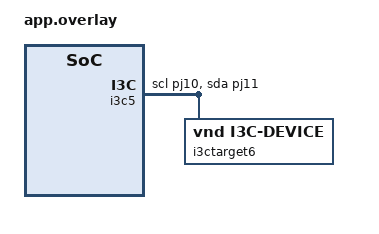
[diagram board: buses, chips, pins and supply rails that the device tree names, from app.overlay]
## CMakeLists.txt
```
# SPDX-License-Identifier: Apache-2.0

cmake_minimum_required(VERSION 3.20.0)

# 810_driver_test 通用：cpu2 控制台 uart5（PN14/PN13, 115200）
set(EXTRA_DTC_OVERLAY_FILE
    ${CMAKE_CURRENT_SOURCE_DIR}/../../common/cpu2_console_uart5.overlay)

find_package(Zephyr REQUIRED HINTS $ENV{ZEPHYR_BASE})
project(cpu0_i3c_controller)

target_sources(app PRIVATE src/main.c src/i3c_controller_test.c)
target_include_directories(app PRIVATE ${CMAKE_CURRENT_SOURCE_DIR}/../tests/include)
```

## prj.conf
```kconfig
CONFIG_LOG=y
CONFIG_LOG_MODE_DEFERRED=y
CONFIG_LOG_BUFFER_SIZE=16384
CONFIG_LOG_PROCESS_THREAD_SLEEP_MS=10
CONFIG_SERIAL=y
CONFIG_SHELL=y
CONFIG_ZTEST=y
CONFIG_ZTEST_ASSERT_VERBOSE=1
CONFIG_ZTEST_VERBOSE_OUTPUT=n
CONFIG_ZTEST_SUMMARY=n
CONFIG_I3C=y
CONFIG_I3C_USE_IBI=y
CONFIG_I3C_IBI_MAX_PAYLOAD_SIZE=8
CONFIG_I3C_LOG_LEVEL_ERR=y
CONFIG_MINIMAL_LIBC=y
CONFIG_NEWLIB_LIBC=n
```

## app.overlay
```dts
/*
 * I3C 双核测试：controller（cpu2）侧总线配置。
 *
 * 控制台串口（uart5, PN14/PN13）由 810_driver_test 通用配置提供：
 *   ../common/cpu2_console_uart5.overlay
 * 通过 cpu0_i3c_controller/CMakeLists.txt 的 EXTRA_DTC_OVERLAY_FILE 引入，
 * 各 timing case 的 overlay 只需关注 I3C 时序差异。
 */

&i3c5_scl_pj10 {
    drive-strength = <1>;
    bias-pull-up2;
};

&i3c5_sda_pj11 {
    drive-strength = <1>;
    bias-pull-up2;
};

&i3c5 {
    status = "okay";
    i3c-scl-hz = <12500000>;
    // i2c-scl-hz = <400000>;
    interrupts = <I3C5_IRQN 6>;

    tgt-pid = <0x5 0x55>;
    dcr = <0x4>;
    bcr = <0x42>;

    pinctrl-0 = <
        &i3c5_scl_pj10
        &i3c5_sda_pj11
    >;
    pinctrl-names = "default";

    i3ctarget6: i3ctarget@20813811000 {
        compatible = "vnd,i3c-device";
        reg = <0 0x0208 0x13811000>;
        assigned-address = <0x32>;
        status = "okay";
    };
};



#if 1
#undef SRAM_TOTAL_SIZE
#undef SRAM_RO_SIZE
#undef SRAM_RW_SIZE

#define SRAM_TOTAL_SIZE DT_SIZE_K(512 - 128)
#define SRAM_RO_SIZE    DT_SIZE_K(256 - 128)
#define SRAM_RW_SIZE    (SRAM_TOTAL_SIZE - SRAM_RO_SIZE)

&sram_ro {
    reg = <0x10020000 SRAM_RO_SIZE>;
};

&sram {
    reg = <(0x10020000 + SRAM_RO_SIZE) SRAM_RW_SIZE>;
};
#endif
```

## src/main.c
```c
/*
 * Copyright (c) 2025 LinkedSemi
 *
 * SPDX-License-Identifier: Apache-2.0
 */

#include "i3c_controller_test.h"

#include <stdio.h>
#include <string.h>
#include <zephyr/kernel.h>
#include <zephyr/device.h>
#include <zephyr/drivers/i3c.h>
#include <zephyr/drivers/i3c/ibi.h>
#include <zephyr/logging/log.h>

LOG_MODULE_REGISTER(i3c_master_test, LOG_LEVEL_INF);

const struct device *i3c_ctrl_dev = DEVICE_DT_GET(DT_NODELABEL(i3c5));

void log_buf_hex(const char *prefix, const uint8_t *buf, size_t len)
{
	char str[READ_LEN_MAX * 3 + 1];
	int pos = 0;

	for (size_t i = 0; i < len; i++) {
		pos += snprintf(str + pos, sizeof(str) - pos, "%02X ", buf[i]);
		if (pos >= sizeof(str)) {
			break;
		}
	}
	LOG_INF("%s%s", prefix, str);
}

int i3c_write_actual(struct i3c_device_desc *target,
			     const uint8_t *write_buf, size_t num_write,
			     size_t *actual)
{
	struct i3c_msg msg = {
		.buf = (uint8_t *)write_buf,
		.len = num_write,
		.flags = I3C_MSG_WRITE | I3C_MSG_STOP,
		.hdr_mode = 0,
		.hdr_cmd_code = 0,
		.num_xfer = 0,
	};

	int ret = i3c_transfer(target, &msg, 1);
	if (ret == 0) {
		*actual = msg.num_xfer;
	}
	return ret;
}

int i3c_write_read_actual(struct i3c_device_desc *target,
				  const uint8_t *write_buf, size_t num_write,
				  uint8_t *read_buf, size_t num_read,
				  size_t *actual)
{
	struct i3c_msg msg[2] = {
		{
			.buf = (uint8_t *)write_buf,
			.len = num_write,
			.flags = I3C_MSG_WRITE,
			.hdr_mode = 0,
			.hdr_cmd_code = 0,
			.num_xfer = 0,
		},
		{
			.buf = read_buf,
			.len = num_read,
			.flags = I3C_MSG_RESTART | I3C_MSG_READ | I3C_MSG_STOP,
			.hdr_mode = 0,
			.hdr_cmd_code = 0,
			.num_xfer = 0,
		},
	};

	int ret = i3c_transfer(target, msg, 2);
	if (ret == 0) {
		*actual = msg[1].num_xfer;
	}
	return ret;
}

int i3c_read_actual(struct i3c_device_desc *target,
			    uint8_t *read_buf, size_t num_read,
			    size_t *actual)
{
	struct i3c_msg msg = {
		.buf = read_buf,
		.len = num_read,
		.flags = I3C_MSG_READ | I3C_MSG_STOP,
		.hdr_mode = 0,
		.hdr_cmd_code = 0,
		.num_xfer = 0,
	};

	int ret = i3c_transfer(target, &msg, 1);
	if (ret == 0) {
		*actual = msg.num_xfer;
	}
	return ret;
}

struct i3c_device_desc *wait_for_target(void)
{
	struct i3c_device_desc *target = NULL;
	int ret;

	for (int attempt = 0; attempt < 30; attempt++) {
		target = i3c_dev_list_i3c_addr_find(i3c_ctrl_dev, I3C_TARGET_ADDR);
		if (target != NULL) {
			return target;
		}
		LOG_INF("Target 0x%02X not found, retry DAA (attempt %d)",
		       I3C_TARGET_ADDR, attempt + 1);
		ret = i3c_do_daa(i3c_ctrl_dev);
		if (ret != 0) {
			LOG_INF("i3c_do_daa failed: %d", ret);
		}
		k_sleep(K_MSEC(20));
	}

	return NULL;
}
```

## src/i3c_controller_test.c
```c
/*
 * Copyright (c) 2025 LinkedSemi
 *
 * SPDX-License-Identifier: Apache-2.0
 */

#include "i3c_controller_test.h"
#include "i3c_dualcore_test_protocol.h"

#include <stdio.h>
#include <string.h>
#include <zephyr/ztest.h>
#include <zephyr/kernel.h>
#include <zephyr/drivers/i3c.h>
#include <zephyr/drivers/i3c/ibi.h>
#include <zephyr/drivers/i3c/ccc.h>
#include <zephyr/logging/log.h>

LOG_MODULE_DECLARE(i3c_master_test, LOG_LEVEL_INF);

static struct i3c_device_desc *target_desc;
static enum i3c_test_id current_test_id;
static bool ctrl_any_failed;

static volatile bool ibi_received;
static volatile uint8_t ibi_payload_buf[8];
static volatile size_t ibi_payload_len;

static char ctrl_fail_reason[256];
static bool ctrl_failed;

/* 调试：带时间戳的步骤标记（printk 入队即返回，deferred 不阻塞流程） */
#define CTRL_STEP(tag) \
	printk("CTRL_STEP: %s @%lu\n", tag, k_cyc_to_us_floor32(k_cycle_get_32()))

/* 每项测试的结果记账：-1 未跑 / 0 PASS / 1 FAIL，用于结尾汇总表 */
static int8_t ctrl_results[I3C_TEST_COUNT];
static char ctrl_result_reason[I3C_TEST_COUNT][96];

#define CTRL_EXPECT(cond, fmt, ...) \
	do { \
		if (!(cond)) { \
			int _rem = (int)sizeof(ctrl_fail_reason) - \
				   (int)strlen(ctrl_fail_reason); \
			if (_rem > 0) { \
				snprintf(ctrl_fail_reason + strlen(ctrl_fail_reason), \
					 (size_t)_rem, fmt "; ", ##__VA_ARGS__); \
			} \
			ctrl_failed = true; \
		} \
	} while (0)

static int ctrl_ibi_cb(struct i3c_device_desc *target,
		       struct i3c_ibi_payload *payload)
{
	ARG_UNUSED(target);

	CTRL_STEP("IBI enter");
	ibi_received = true;
	if (payload != NULL && payload->payload_len > 0) {
		ibi_payload_len = payload->payload_len;
		if (ibi_payload_len > sizeof(ibi_payload_buf)) {
			ibi_payload_len = sizeof(ibi_payload_buf);
		}
		memcpy((void *)ibi_payload_buf, payload->payload, ibi_payload_len);
		printk("IBI received, %zu bytes\n", ibi_payload_len);
	} else {
		ibi_payload_len = 0;
		printk("IBI received, no payload\n");
	}
	CTRL_STEP("IBI exit");
	return 0;
}

static int ctrl_send_cmd(const uint8_t *data, size_t len)
{
	size_t actual = 0;

	if (target_desc == NULL) {
		return -ENODEV;
	}

	int ret = i3c_write_actual(target_desc, data, len, &actual);
	if (ret != 0) {
		return ret;
	}
	if (actual != len) {
		return -EIO;
	}
	return 0;
}

/* 调试：带时间戳的步骤标记（printk 入队即返回，deferred 不阻塞流程） */
#define CTRL_STEP(tag) \
	printk("CTRL_STEP: %s @%lu\n", tag, k_cyc_to_us_floor32(k_cycle_get_32()))

/* 等待从机的就绪握手 IBI（payload {0xBB, test_id}） */
static bool ctrl_wait_ready_ibi(enum i3c_test_id id, uint32_t timeout_ms)
{
	uint32_t waited = 0;

	while (waited < timeout_ms) {
		if (ibi_received && ibi_payload_len == 2 &&
		    ibi_payload_buf[0] == 0xBB && ibi_payload_buf[1] == (uint8_t)id) {
			return true;
		}
		k_sleep(K_MSEC(1));
		waited += 1;
	}
	return false;
}

static bool ctrl_test_begin(enum i3c_test_id id)
{
	current_test_id = id;
	ctrl_failed = false;
	ctrl_fail_reason[0] = '\0';

	I3C_TEST_CTRL_START_VAR(i3c_test_names[id]);

	if (target_desc == NULL) {
		CTRL_EXPECT(false, "target not discovered");
		return false;
	}

	ibi_received = false;
	uint8_t payload = (uint8_t)id;
	int ret = ctrl_send_cmd((const uint8_t[]){ CMD_TEST_START, payload }, 2);
	CTRL_EXPECT(ret == 0, "CMD_TEST_START failed: %d", ret);
	CTRL_STEP("S sent");

	/* 就绪握手：从机解析完 TEST_START 后回 IBI {0xBB, id}。
	 * 收不到说明从机中断/状态机已卡死，立即失败并暴露。 */
	if (ret == 0 && !ctrl_wait_ready_ibi(id, 1000)) {
		CTRL_EXPECT(false, "ready IBI timeout for test %d", id);
	}
	/* 实验：收到 IBI 后不再发后续帧，判定 cpu1 卡 8ms 是否与 cpu2 后续操作有关 */
#if 1
	CTRL_STEP("IBI ok");
	return !ctrl_failed;
#else
	CTRL_STEP("IBI ok");

	/* 实验（排查 IBI 后 8ms 死窗）：收到就绪 IBI 后延迟 N ms 再发测试帧。
	 * DLY500 实测：延迟 500ms 时帧落在窗口外，write_stop_read_32 双核 PASS，
	 * 死窗确为 IBI 后固定时长 blackout。改回 0 让帧打进窗口继续观测。 */
#define CTRL_DBG_POST_IBI_DELAY_MS 0
#if CTRL_DBG_POST_IBI_DELAY_MS > 0
	k_sleep(K_MSEC(CTRL_DBG_POST_IBI_DELAY_MS));
	CTRL_STEP("DLY done");
#endif

	return !ctrl_failed;
#endif
}

static void ctrl_test_end(void)
{
	uint8_t result = ctrl_failed ? TEST_RESULT_FAIL : TEST_RESULT_PASS;
	int ret = ctrl_send_cmd((const uint8_t[]){ CMD_TEST_END, (uint8_t)current_test_id, result }, 3);
	CTRL_STEP("E sent");
	CTRL_EXPECT(ret == 0, "CMD_TEST_END failed: %d", ret);

	/* Give target time to run its ztest and emit the TGT token. */
	k_sleep(K_MSEC(10));

	/* 记账，供结尾汇总表使用（zassert 失败会中止当前测试线程，必须先记） */
	ctrl_results[current_test_id] = ctrl_failed ? 1 : 0;
	if (ctrl_failed) {
		snprintf(ctrl_result_reason[current_test_id],
			 sizeof(ctrl_result_reason[current_test_id]),
			 "%s", ctrl_fail_reason);
	} else {
		ctrl_result_reason[current_test_id][0] = '\0';
	}

	if (ctrl_failed) {
		I3C_TEST_CTRL_FAIL_VAR(i3c_test_names[current_test_id], ctrl_fail_reason);
		ctrl_any_failed = true;
	} else {
		I3C_TEST_CTRL_PASS_VAR(i3c_test_names[current_test_id]);
	}

	zassert_false(ctrl_failed, "%s", ctrl_fail_reason);
}

static void fill_pattern(uint8_t *buf, size_t len, uint8_t seed)
{
	for (size_t i = 0; i < len; i++) {
		buf[i] = (uint8_t)(seed + i);
	}
}

static void validate_pattern(const uint8_t *buf, size_t len, uint8_t seed,
			     const char *ctx)
{
	for (size_t i = 0; i < len; i++) {
		uint8_t expected = (uint8_t)(seed + i);
		CTRL_EXPECT(buf[i] == expected,
			    "%s byte[%zu] 0x%02x != 0x%02x",
			    ctx, i, buf[i], expected);
	}
}

static int ctrl_set_read_len(uint8_t len)
{
	return ctrl_send_cmd((const uint8_t[]){ CMD_SET_READ_LEN, len }, 2);
}

static int ctrl_trigger(enum i3c_test_id id)
{
	uint8_t opcode = (id == I3C_TEST_IBI) ? CMD_TRIGGER_IBI : CMD_TRIGGER_HJ;
	return ctrl_send_cmd(&opcode, 1);
}

/* ========== ztest suite setup ========== */

static void *i3c_controller_setup(void)
{
	LOG_INF("[CPU2 MASTER] I3C controller test started");

	for (int i = 0; i < I3C_TEST_COUNT; i++) {
		ctrl_results[i] = -1;
	}

	k_sleep(K_MSEC(20));

	target_desc = wait_for_target();
	if (target_desc == NULL) {
		/* Let the first test fail gracefully. */
		return NULL;
	}

	target_desc->ibi_cb = ctrl_ibi_cb;
	int ret = i3c_ibi_enable(target_desc);
	if (ret != 0) {
		LOG_ERR("i3c_ibi_enable failed: %d", ret);
	} else {
		LOG_INF("IBI enabled for target 0x%02x", I3C_TARGET_ADDR);
	}

	/* 每个测试项的就绪握手依赖 IBI：target 侧事件使能必须确实打开。
	 * 不能用 i3c_ibi_enable 的重使能（target 已在 IBI 列表时会早退 -EINVAL，
	 * ENEC 发不出去），这里直接发 direct CCC ENEC。 */
	struct i3c_ccc_events ibi_evt = { .events = I3C_CCC_EVT_INTR };
	int en_ret = i3c_ccc_do_events_set(target_desc, true, &ibi_evt);
	if (en_ret != 0) {
		LOG_ERR("setup ENEC INTR failed: %d", en_ret);
	}

	return NULL;
}

static void i3c_controller_before(void *fixture)
{
	ARG_UNUSED(fixture);
}

static void i3c_controller_after(void *fixture)
{
	ARG_UNUSED(fixture);
}

/* ========== Test implementations ========== */

#if I3C_TEST_EN_DAA_DISCOVERY
ZTEST(i3c_controller, daa_discovery)
{
	(void)ctrl_test_begin(I3C_TEST_DAA_DISCOVERY);

	CTRL_EXPECT(target_desc != NULL, "target 0x%02x not discovered", I3C_TARGET_ADDR);
	if (target_desc != NULL) {
		CTRL_EXPECT(target_desc->dynamic_addr == I3C_TARGET_ADDR,
			    "dynamic addr 0x%02x != 0x%02x",
			    target_desc->dynamic_addr, I3C_TARGET_ADDR);
	}

	ctrl_test_end();
}
#endif /* I3C_TEST_EN_DAA_DISCOVERY */

#if I3C_TEST_EN_WRITE_8
ZTEST(i3c_controller, write_8)
{
	uint8_t buf[8];
	uint8_t cmd_buf[2 + sizeof(buf)];

	if (!ctrl_test_begin(I3C_TEST_WRITE_8)) {
		ctrl_test_end();
		return;
	}

	fill_pattern(buf, sizeof(buf), 0x10);
	cmd_buf[0] = CMD_WRITE_DATA;
	cmd_buf[1] = sizeof(buf);
	memcpy(cmd_buf + 2, buf, sizeof(buf));

	size_t actual = 0;
	int ret = i3c_write_actual(target_desc, cmd_buf, sizeof(cmd_buf), &actual);
	CTRL_EXPECT(ret == 0, "write failed: %d", ret);
	CTRL_EXPECT(actual == sizeof(cmd_buf), "write actual %zu != %zu", actual, sizeof(cmd_buf));

	ctrl_test_end();
}
#endif /* I3C_TEST_EN_WRITE_8 */

#if I3C_TEST_EN_WRITE_100
ZTEST(i3c_controller, write_100)
{
	uint8_t buf[100];
	uint8_t cmd_buf[2 + sizeof(buf)];

	if (!ctrl_test_begin(I3C_TEST_WRITE_100)) {
		ctrl_test_end();
		return;
	}

	fill_pattern(buf, sizeof(buf), 0x20);
	cmd_buf[0] = CMD_WRITE_DATA;
	cmd_buf[1] = sizeof(buf);
	memcpy(cmd_buf + 2, buf, sizeof(buf));

	size_t actual = 0;
	int ret = i3c_write_actual(target_desc, cmd_buf, sizeof(cmd_buf), &actual);
	CTRL_EXPECT(ret == 0, "write failed: %d", ret);
	CTRL_EXPECT(actual == sizeof(cmd_buf), "write actual %zu != %zu", actual, sizeof(cmd_buf));

	ctrl_test_end();
}
#endif /* I3C_TEST_EN_WRITE_100 */

#if I3C_TEST_EN_READ_DIRECT
ZTEST(i3c_controller, read_32_direct)
{
	uint8_t buf[32];

	if (!ctrl_test_begin(I3C_TEST_READ_32_DIRECT)) {
		ctrl_test_end();
		return;
	}

	size_t actual = 0;
	int ret = -EIO;
	for (int i = 0; i < PHASE_RETRY; i++) {
		ret = i3c_read_actual(target_desc, buf, sizeof(buf), &actual);
		if (ret == 0 && actual == sizeof(buf)) {
			break;
		}
		LOG_INF("direct read attempt %d failed (ret=%d, actual=%zu), retry",
			i + 1, ret, actual);
		k_sleep(K_MSEC(TEST_DELAY_MS));
	}

	CTRL_EXPECT(ret == 0, "direct read failed: %d", ret);
	CTRL_EXPECT(actual == sizeof(buf), "direct read actual %zu != %zu",
		    actual, sizeof(buf));
	if (ret == 0 && actual == sizeof(buf)) {
		validate_pattern(buf, actual, 0x00, "read");
	}

	ctrl_test_end();
}
#endif /* I3C_TEST_EN_READ_DIRECT */

#if I3C_TEST_EN_WRITE_READ_1
ZTEST(i3c_controller, write_read_1)
{
	uint8_t rd[1];
	uint8_t wr = CMD_DUMMY_BYTE;	/* 占位字节，读长度已由 SET_READ_LEN 设置 */

	if (!ctrl_test_begin(I3C_TEST_WRITE_READ_1)) {
		ctrl_test_end();
		return;
	}

	int ret = ctrl_set_read_len(1);
	CTRL_EXPECT(ret == 0, "set read len failed: %d", ret);

	size_t actual = 0;
	ret = i3c_write_read_actual(target_desc, &wr, 1, rd, sizeof(rd), &actual);
	CTRL_EXPECT(ret == 0, "write-read failed: %d", ret);
	CTRL_EXPECT(actual == sizeof(rd), "read actual %zu != %zu", actual, sizeof(rd));
	if (ret == 0 && actual == sizeof(rd)) {
		validate_pattern(rd, actual, 0x00, "write-read");
	}

	ctrl_test_end();
}
#endif /* I3C_TEST_EN_WRITE_READ_1 */

#if I3C_TEST_EN_WRITE_READ_16
ZTEST(i3c_controller, write_read_16)
{
	uint8_t rd[16];
	uint8_t wr = CMD_DUMMY_BYTE;	/* 占位字节，读长度已由 SET_READ_LEN 设置 */

	if (!ctrl_test_begin(I3C_TEST_WRITE_READ_16)) {
		ctrl_test_end();
		return;
	}

	int ret = ctrl_set_read_len(16);
	CTRL_EXPECT(ret == 0, "set read len failed: %d", ret);

	size_t actual = 0;
	ret = i3c_write_read_actual(target_desc, &wr, 1, rd, sizeof(rd), &actual);
	CTRL_EXPECT(ret == 0, "write-read failed: %d", ret);
	CTRL_EXPECT(actual == sizeof(rd), "read actual %zu != %zu", actual, sizeof(rd));
	if (ret == 0 && actual == sizeof(rd)) {
		validate_pattern(rd, actual, 0x00, "write-read");
	}

	ctrl_test_end();
}
#endif /* I3C_TEST_EN_WRITE_READ_16 */

#if I3C_TEST_EN_WRITE_READ_17
ZTEST(i3c_controller, write_read_17)
{
	uint8_t rd[17];
	uint8_t wr = CMD_DUMMY_BYTE;	/* 占位字节，读长度已由 SET_READ_LEN 设置 */

	if (!ctrl_test_begin(I3C_TEST_WRITE_READ_17)) {
		ctrl_test_end();
		return;
	}

	int ret = ctrl_set_read_len(17);
	CTRL_EXPECT(ret == 0, "set read len failed: %d", ret);

	size_t actual = 0;
	ret = i3c_write_read_actual(target_desc, &wr, 1, rd, sizeof(rd), &actual);
	CTRL_EXPECT(ret == 0, "write-read failed: %d", ret);
	CTRL_EXPECT(actual == sizeof(rd), "read actual %zu != %zu", actual, sizeof(rd));
	if (ret == 0 && actual == sizeof(rd)) {
		validate_pattern(rd, actual, 0x00, "write-read");
	}

	ctrl_test_end();
}
#endif /* I3C_TEST_EN_WRITE_READ_17 */

#if I3C_TEST_EN_WRITE_READ_32
ZTEST(i3c_controller, write_read_32)
{
	uint8_t rd[32];
	uint8_t wr = CMD_DUMMY_BYTE;	/* 占位字节，读长度已由 SET_READ_LEN 设置 */

	if (!ctrl_test_begin(I3C_TEST_WRITE_READ_32)) {
		ctrl_test_end();
		return;
	}

	int ret = ctrl_set_read_len(32);
	CTRL_EXPECT(ret == 0, "set read len failed: %d", ret);

	size_t actual = 0;
	ret = i3c_write_read_actual(target_desc, &wr, 1, rd, sizeof(rd), &actual);
	CTRL_EXPECT(ret == 0, "write-read failed: %d", ret);
	CTRL_EXPECT(actual == sizeof(rd), "read actual %zu != %zu", actual, sizeof(rd));
	if (ret == 0 && actual == sizeof(rd)) {
		validate_pattern(rd, actual, 0x00, "write-read");
	}

	ctrl_test_end();
}
#endif /* I3C_TEST_EN_WRITE_READ_32 */

/*
 * write+stop+start+read 变体：数据内容与 write_read 完全一致，
 * 但把 repeated-start 拆成 STOP + 新 START 两笔独立传输。
 * 用于隔离 write_read 的 URUNNACK 是否 restart 路径特有：
 * STOP 会触发 target 的 stop_cb 在总线空闲时做恢复性预填，
 * 没有 restart 前 ~3us（末字节 T-bit 之后）的装填死线。
 */
#define WRITE_STOP_READ_TEST(id, name, len)                                       \
	ZTEST(i3c_controller, name)                                               \
	{                                                                         \
		uint8_t rd[len];                                                  \
		uint8_t wr = CMD_DUMMY_BYTE;                                      \
		                                                                  \
		if (!ctrl_test_begin(id)) {                                       \
			ctrl_test_end();                                          \
			return;                                                   \
		}                                                                 \
		                                                                  \
		int ret = ctrl_set_read_len(len);                                 \
		CTRL_EXPECT(ret == 0, "set read len failed: %d", ret);            \
		CTRL_STEP("L sent");                                              \
		                                                                  \
		size_t actual = 0;                                                \
		ret = i3c_write_actual(target_desc, &wr, sizeof(wr), &actual);    \
		CTRL_EXPECT(ret == 0, "write failed: %d", ret);                   \
		CTRL_EXPECT(actual == sizeof(wr), "write actual %zu != %zu",      \
			    actual, sizeof(wr));                                  \
		CTRL_STEP("A5 sent");                                             \
		                                                                  \
		/* 等 target stop_cb 完成 TX FIFO 恢复性预填，再发起新 START 读 */ \
		k_sleep(K_MSEC(1));                                               \
		                                                                  \
		actual = 0;                                                       \
		ret = i3c_read_actual(target_desc, rd, sizeof(rd), &actual);      \
		CTRL_STEP("RD done");                                             \
		CTRL_EXPECT(ret == 0, "read failed: %d", ret);                    \
		CTRL_EXPECT(actual == sizeof(rd), "read actual %zu != %zu",       \
			    actual, sizeof(rd));                                  \
		if (ret == 0 && actual == sizeof(rd)) {                           \
			validate_pattern(rd, actual, 0x00, "write-stop-read");    \
		}                                                                 \
		                                                                  \
		ctrl_test_end();                                                  \
	}

#if I3C_TEST_EN_WRITE_STOP_READ_1
WRITE_STOP_READ_TEST(I3C_TEST_WRITE_STOP_READ_1, write_stop_read_1, 1)
#endif
#if I3C_TEST_EN_WRITE_STOP_READ_16
WRITE_STOP_READ_TEST(I3C_TEST_WRITE_STOP_READ_16, write_stop_read_16, 16)
#endif
#if I3C_TEST_EN_WRITE_STOP_READ_17
WRITE_STOP_READ_TEST(I3C_TEST_WRITE_STOP_READ_17, write_stop_read_17, 17)
#endif
#if I3C_TEST_EN_WRITE_STOP_READ_32
WRITE_STOP_READ_TEST(I3C_TEST_WRITE_STOP_READ_32, write_stop_read_32, 32)
#endif

#if I3C_TEST_EN_IBI
ZTEST(i3c_controller, ibi)
{
	if (!ctrl_test_begin(I3C_TEST_IBI)) {
		ctrl_test_end();
		return;
	}

	/* ccc_basic 的 DISEC(EVT_ALL) 可能已关掉 target 的 IBI 事件
	 * （硬件锁存 IBIDIS，期间 IBI 请求不会上到总线）。
	 * 注意不能用 i3c_ibi_enable 重使能：target 已在 controller 的
	 * IBI 列表中，它会以 -EINVAL(already in the list) 提前返回，
	 * ENEC 根本发不出去。这里直接发 direct CCC ENEC。 */
	struct i3c_ccc_events ibi_evt = { .events = I3C_CCC_EVT_INTR };
	int en_ret = i3c_ccc_do_events_set(target_desc, true, &ibi_evt);
	CTRL_EXPECT(en_ret == 0, "ENEC INTR failed: %d", en_ret);

	ibi_received = false;
	ibi_payload_len = 0;

	int ret = ctrl_trigger(I3C_TEST_IBI);
	CTRL_EXPECT(ret == 0, "IBI trigger failed: %d", ret);

	k_sleep(K_MSEC(30));

	CTRL_EXPECT(ibi_received, "IBI not received");
	CTRL_EXPECT(ibi_payload_len == 4, "IBI payload len %zu != 4", ibi_payload_len);
	if (ibi_payload_len == 4) {
		CTRL_EXPECT(ibi_payload_buf[0] == 0xBB, "IBI payload[0] 0x%02x != 0xBB",
			    ibi_payload_buf[0]);
	}

	ctrl_test_end();
}
#endif /* I3C_TEST_EN_IBI */

#if I3C_TEST_EN_HOT_JOIN
ZTEST(i3c_controller, hot_join)
{
	uint8_t rd[32];

	if (!ctrl_test_begin(I3C_TEST_HOT_JOIN)) {
		ctrl_test_end();
		return;
	}

	/* 同上：DISEC 可能已关掉 HJ 事件（硬件锁存 HJDIS）；重新使能 */
	struct i3c_ccc_events hj_evt = { .events = I3C_CCC_EVT_HJ };
	int en_ret = i3c_ccc_do_events_set(target_desc, true, &hj_evt);
	CTRL_EXPECT(en_ret == 0, "ENEC HJ failed: %d", en_ret);

	/* 1. 武装 target：HJ 只允许无动态地址的设备发起（DAVALID=1 时
	 *    硬件抑制请求，总线上不会有波形），所以 target 收到本命令后
	 *    并不立即发 HJ，而是等待下面 RSTDAA 清掉地址后自动发起 */
	int ret = ctrl_trigger(I3C_TEST_HOT_JOIN);
	CTRL_EXPECT(ret == 0, "HJ trigger failed: %d", ret);
	k_sleep(K_MSEC(10));

	/* 2. 广播 RSTDAA：target 失去动态地址 → 自动 HJ；
	 *    controller 收到 HJ 后由 IBI workqueue 重新 ENTDAA 分配地址
	 *    （驱动对已知 PID 复用旧地址，重连后仍是 0x32） */
	ret = i3c_ccc_do_rstdaa_all(i3c_ctrl_dev);
	CTRL_EXPECT(ret == 0, "RSTDAA failed: %d", ret);
	k_sleep(K_MSEC(20));

	/* 3. 以"读成功"作为 HJ 重连完成的判据：RSTDAA 到重 DAA 完成之间
	 *    读 0x32 会被 NACK，带重试等待 HJ workqueue 完成 */
	size_t actual = 0;
	ret = -EIO;
	for (int i = 0; i < PHASE_RETRY; i++) {
		ret = i3c_read_actual(target_desc, rd, sizeof(rd), &actual);
		if (ret == 0 && actual == sizeof(rd)) {
			break;
		}
		LOG_INF("post-HJ read attempt %d failed (ret=%d, actual=%zu), retry",
			i + 1, ret, actual);
		k_sleep(K_MSEC(TEST_DELAY_MS));
	}
	CTRL_EXPECT(ret == 0, "post-HJ read failed: %d", ret);
	CTRL_EXPECT(actual == sizeof(rd), "post-HJ read actual %zu != %zu",
		    actual, sizeof(rd));
	if (ret == 0 && actual == sizeof(rd)) {
		validate_pattern(rd, actual, 0x00, "post-HJ read");
	}

	ctrl_test_end();
}
#endif /* I3C_TEST_EN_HOT_JOIN */

#if I3C_TEST_EN_CCC_BASIC
ZTEST(i3c_controller, ccc_basic)
{
	struct i3c_ccc_getpid pid;
	struct i3c_ccc_getbcr bcr;
	struct i3c_ccc_events events = { .events = I3C_CCC_EVT_ALL };

	if (!ctrl_test_begin(I3C_TEST_CCC_BASIC)) {
		ctrl_test_end();
		return;
	}

	int ret = i3c_ccc_do_getpid(target_desc, &pid);
	CTRL_EXPECT(ret == 0, "getpid failed: %d", ret);
	if (ret == 0) {
		CTRL_EXPECT(pid.pid[0] != 0 || pid.pid[1] != 0 || pid.pid[2] != 0 ||
			    pid.pid[3] != 0 || pid.pid[4] != 0 || pid.pid[5] != 0,
			    "received pid is zero");
	}

	ret = i3c_ccc_do_getbcr(target_desc, &bcr);
	CTRL_EXPECT(ret == 0, "getbcr failed: %d", ret);
	if (ret == 0) {
		CTRL_EXPECT(bcr.bcr == target_desc->bcr,
			    "bcr 0x%02x != 0x%02x", bcr.bcr, target_desc->bcr);
	}

	ret = i3c_ccc_do_events_set(target_desc, true, &events);
	CTRL_EXPECT(ret == 0, "ENEC failed: %d", ret);

	ret = i3c_ccc_do_events_set(target_desc, false, &events);
	CTRL_EXPECT(ret == 0, "DISEC failed: %d", ret);

	/* DISEC(EVT_ALL) 会让 target 硬件锁存 IBIDIS/HJDIS，
	 * 恢复使能，避免影响后续 ibi/hot_join 测试 */
	ret = i3c_ccc_do_events_set(target_desc, true, &events);
	CTRL_EXPECT(ret == 0, "restore ENEC failed: %d", ret);

	ctrl_test_end();
}
#endif /* I3C_TEST_EN_CCC_BASIC */

ZTEST_SUITE(i3c_controller, NULL, i3c_controller_setup,
	    i3c_controller_before, i3c_controller_after, NULL);

static void ctrl_print_summary(void)
{
	int passed = 0, ran = 0;

	I3C_TEST_SUMMARY_BEGIN(CTRL);
	for (int i = 0; i < I3C_TEST_COUNT; i++) {
		const char *name = i3c_test_names[i];

		if (ctrl_results[i] < 0) {
			I3C_TEST_SUMMARY_ITEM(CTRL, name, "NOT_RUN");
			continue;
		}
		ran++;
		if (ctrl_results[i] == 0) {
			passed++;
			I3C_TEST_SUMMARY_ITEM(CTRL, name, "PASS");
		} else if (ctrl_result_reason[i][0] != '\0') {
			I3C_TEST_SUMMARY_ITEM_REASON(CTRL, name, "FAIL",
						     ctrl_result_reason[i]);
		} else {
			I3C_TEST_SUMMARY_ITEM(CTRL, name, "FAIL");
		}
	}
	I3C_TEST_SUMMARY_END(CTRL, passed, ran);
}

void test_main(void)
{
	ztest_run_all(NULL, false, 1, 1);
	ztest_verify_all_test_suites_ran();

	/* 通知 target 打印它的汇总表（target 没有本地的"全部结束"信号），
	 * 稍等让 target 的总结先出完，再打印 controller 自己的，
	 * 避免两张表在合并观察的串口日志里交错 */
	(void)ctrl_send_cmd((const uint8_t[]){ CMD_PRINT_SUMMARY }, 1);
	k_sleep(K_MSEC(20));

	ctrl_print_summary();
	I3C_TEST_DONE_VAR(ctrl_any_failed ? "FAIL" : "PASS");
}
```

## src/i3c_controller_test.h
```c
/*
 * Copyright (c) 2025 LinkedSemi
 *
 * SPDX-License-Identifier: Apache-2.0
 */

#ifndef I3C_CONTROLLER_TEST_H
#define I3C_CONTROLLER_TEST_H

#include <stddef.h>
#include <stdint.h>
#include <zephyr/drivers/i3c.h>
#include <zephyr/drivers/i3c/ibi.h>

#include "i3c_dualcore_test_protocol.h"

#ifdef __cplusplus
extern "C" {
#endif

#define READ_LEN_MAX   256
#define PHASE_RETRY    3
#define TEST_DELAY_MS  5

extern const struct device *i3c_ctrl_dev;

void log_buf_hex(const char *prefix, const uint8_t *buf, size_t len);

int i3c_write_actual(struct i3c_device_desc *target,
			     const uint8_t *write_buf, size_t num_write,
			     size_t *actual);
int i3c_read_actual(struct i3c_device_desc *target,
			    uint8_t *read_buf, size_t num_read,
			    size_t *actual);
int i3c_write_read_actual(struct i3c_device_desc *target,
				  const uint8_t *write_buf, size_t num_write,
				  uint8_t *read_buf, size_t num_read,
				  size_t *actual);
struct i3c_device_desc *wait_for_target(void);

#ifdef __cplusplus
}
#endif

#endif /* I3C_CONTROLLER_TEST_H */
```
